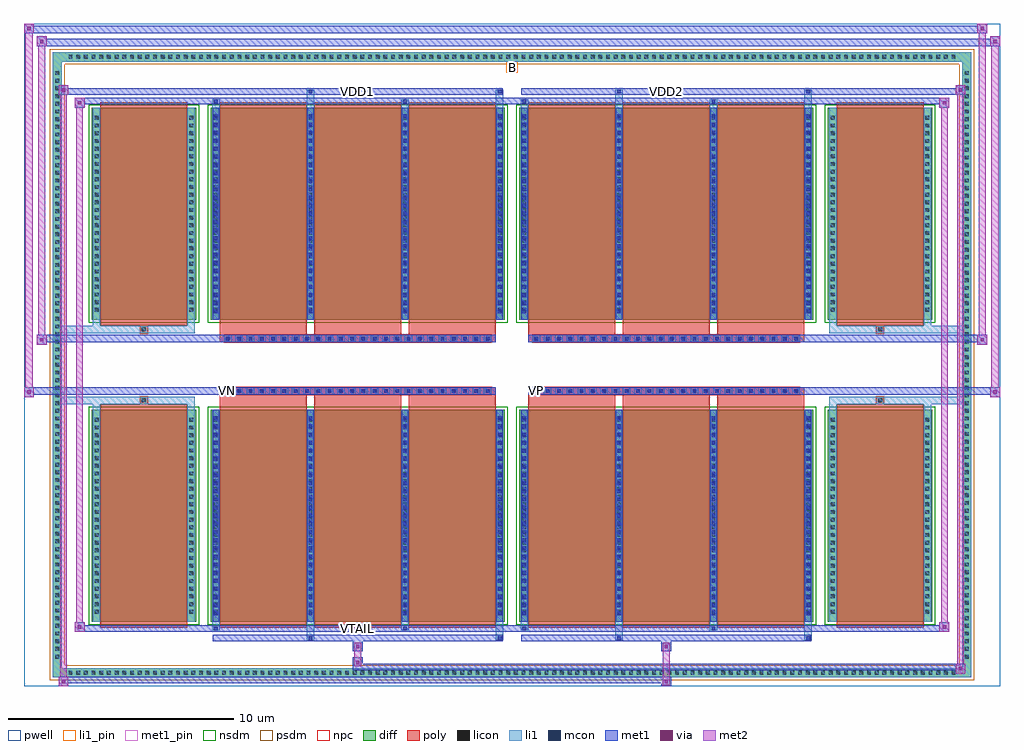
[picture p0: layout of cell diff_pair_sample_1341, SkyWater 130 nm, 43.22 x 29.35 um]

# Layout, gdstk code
import gdstk
lib = gdstk.Library(unit=1e-6, precision=5e-09)
def R(c, l, rs):  # rectangles x0, y0, x1, y1
    for r in rs: c.add(gdstk.rectangle(r[:2], r[2:], *l))
def A(c, l, x, y, w, h, nx, ny, dx, dy):  # array of equal rectangles
    R(c, l, [(x+i*dx, y+j*dy, x+i*dx+w, y+j*dy+h) for i in range(nx) for j in range(ny)])
def P(c, l, *ps):  # polygons
    for p in ps: c.add(gdstk.Polygon(p, *l))
pwell = (64, 44)
diff = (65, 20)
poly = (66, 20)
licon = (66, 44)
li1_pin = (67, 16)
li1 = (67, 20)
mcon = (67, 44)
met1_pin = (68, 16)
met1 = (68, 20)
via = (68, 44)
met2 = (69, 20)
nsdm = (93, 44)
psdm = (94, 20)
npc = (95, 20)

diff_pair_sample_1341 = lib.new_cell('diff_pair_sample_1341')
R(diff_pair_sample_1341, pwell, [(-21.61,-14.24,21.61,15.11), (-18.93,-12.43,-0.01,-0.795), (0.01,-12.43,18.93,-0.795), (-18.93,0.795,-0.01,12.43), (0.01,0.795,18.93,12.43)])
A(diff_pair_sample_1341, diff, -19.755, -13.84, 0.41, 0.41, 116, 2, 0.34, 27.27)
A(diff_pair_sample_1341, diff, -20.34, -13.125, 0.41, 0.41, 1, 77, 0, 0.34)
A(diff_pair_sample_1341, diff, 19.93, -13.125, 0.41, 0.41, 1, 77, 0, 0.34)
R(diff_pair_sample_1341, diff, [(-19.755,-13.84,19.755,-13.43), (-20.34,-13.125,-19.93,13.125), (19.93,-13.125,20.34,13.125), (-18.62,-11.385,-13.98,-1.985), (-13.34,-11.385,-0.32,-1.985), (0.32,-11.385,13.34,-1.985), (13.98,-11.385,18.62,-1.985), (-18.62,1.985,-13.98,11.385), (-13.34,1.985,-0.32,11.385), (0.32,1.985,13.34,11.385), (13.98,1.985,18.62,11.385), (-19.755,13.43,19.755,13.84)])
P(diff_pair_sample_1341, diff, [(20.34,13.84),(-20.34,13.84),(-20.34,-13.43),(-19.93,-13.43),(-19.93,13.43),(19.93,13.43),(19.93,-13.43),(-19.93,-13.43),(-20.34,-13.43),(-20.34,-13.84),(20.34,-13.84)])
A(diff_pair_sample_1341, poly, -12.95, -11.635, 3.86, 9.9, 3, 2, 4.19, 13.37)
A(diff_pair_sample_1341, poly, 0.71, -11.635, 3.86, 9.9, 3, 2, 4.19, 13.37)
A(diff_pair_sample_1341, poly, -12.95, -1.735, 3.86, 0.41, 3, 2, 4.19, 3.06)
A(diff_pair_sample_1341, poly, 0.71, -1.735, 3.86, 0.41, 3, 2, 4.19, 3.06)
A(diff_pair_sample_1341, poly, -12.745, -1.325, 0.33, 0.33, 24, 2, 0.5, 2.32)
A(diff_pair_sample_1341, poly, 0.915, -1.325, 0.33, 0.33, 24, 2, 0.5, 2.32)
R(diff_pair_sample_1341, poly, [(-18.23,-11.635,-14.37,-1.735), (14.37,-11.635,18.23,-1.735), (-16.465,-1.735,-16.135,-1.405), (-16.465,-1.735,-16.135,-1.405), (16.135,-1.735,16.465,-1.405), (16.135,-1.735,16.465,-1.405), (-12.95,-1.325,-0.71,-0.995), (0.71,-1.325,12.95,-0.995), (-12.95,0.995,-0.71,1.325), (0.71,0.995,12.95,1.325), (-16.465,1.405,-16.135,1.735), (-16.465,1.405,-16.135,1.735), (16.135,1.405,16.465,1.735), (16.135,1.405,16.465,1.735), (-18.23,1.735,-14.37,11.635), (14.37,1.735,18.23,11.635)])
A(diff_pair_sample_1341, licon, -19.635, -13.72, 0.17, 0.17, 116, 2, 0.34, 27.27)
A(diff_pair_sample_1341, licon, -20.22, -13.005, 0.17, 0.17, 1, 77, 0, 0.34)
A(diff_pair_sample_1341, licon, 20.05, -13.005, 0.17, 0.17, 1, 77, 0, 0.34)
A(diff_pair_sample_1341, licon, -18.48, -11.02, 0.17, 0.17, 1, 26, 0, 0.34)
A(diff_pair_sample_1341, licon, -14.29, -11.02, 0.17, 0.17, 1, 26, 0, 0.34)
A(diff_pair_sample_1341, licon, -13.2, -11.02, 0.17, 0.17, 4, 26, 4.19, 0.34)
A(diff_pair_sample_1341, licon, 0.46, -11.02, 0.17, 0.17, 4, 26, 4.19, 0.34)
A(diff_pair_sample_1341, licon, 14.12, -11.02, 0.17, 0.17, 1, 26, 0, 0.34)
A(diff_pair_sample_1341, licon, 18.31, -11.02, 0.17, 0.17, 1, 26, 0, 0.34)
A(diff_pair_sample_1341, licon, -12.665, -1.245, 0.17, 0.17, 24, 2, 0.5, 2.32)
A(diff_pair_sample_1341, licon, 0.995, -1.245, 0.17, 0.17, 24, 2, 0.5, 2.32)
A(diff_pair_sample_1341, licon, -18.48, 2.35, 0.17, 0.17, 1, 26, 0, 0.34)
A(diff_pair_sample_1341, licon, -14.29, 2.35, 0.17, 0.17, 1, 26, 0, 0.34)
A(diff_pair_sample_1341, licon, -13.2, 2.35, 0.17, 0.17, 4, 26, 4.19, 0.34)
A(diff_pair_sample_1341, licon, 0.46, 2.35, 0.17, 0.17, 4, 26, 4.19, 0.34)
A(diff_pair_sample_1341, licon, 14.12, 2.35, 0.17, 0.17, 1, 26, 0, 0.34)
A(diff_pair_sample_1341, licon, 18.31, 2.35, 0.17, 0.17, 1, 26, 0, 0.34)
R(diff_pair_sample_1341, licon, [(-16.385,-1.655,-16.215,-1.485), (16.215,-1.655,16.385,-1.485), (-16.385,1.485,-16.215,1.655), (16.215,1.485,16.385,1.655)])
R(diff_pair_sample_1341, li1_pin, [(-0.25,12.93,0.25,13.43)])
A(diff_pair_sample_1341, li1, -19.715, -13.8, 0.33, 0.33, 116, 2, 0.34, 27.27)
A(diff_pair_sample_1341, li1, -20.3, -13.085, 0.33, 0.33, 1, 77, 0, 0.34)
A(diff_pair_sample_1341, li1, 19.97, -13.085, 0.33, 0.33, 1, 77, 0, 0.34)
A(diff_pair_sample_1341, li1, -13.28, -11.385, 0.33, 9.4, 4, 2, 4.19, 13.37)
A(diff_pair_sample_1341, li1, 0.38, -11.385, 0.33, 9.4, 4, 2, 4.19, 13.37)
A(diff_pair_sample_1341, li1, -18.56, -11.1, 0.33, 0.33, 1, 26, 0, 0.34)
A(diff_pair_sample_1341, li1, -14.37, -11.1, 0.33, 0.33, 1, 26, 0, 0.34)
A(diff_pair_sample_1341, li1, -13.28, -11.1, 0.33, 0.33, 4, 26, 4.19, 0.34)
A(diff_pair_sample_1341, li1, 0.38, -11.1, 0.33, 0.33, 4, 26, 4.19, 0.34)
A(diff_pair_sample_1341, li1, 14.04, -11.1, 0.33, 0.33, 1, 26, 0, 0.34)
A(diff_pair_sample_1341, li1, 18.23, -11.1, 0.33, 0.33, 1, 26, 0, 0.34)
A(diff_pair_sample_1341, li1, -13.2, -11.09, 0.17, 0.17, 4, 25, 4.19, 0.36)
A(diff_pair_sample_1341, li1, -13.2, -11.09, 0.17, 8.81, 4, 2, 4.19, 13.37)
A(diff_pair_sample_1341, li1, 0.46, -11.09, 0.17, 0.17, 4, 25, 4.19, 0.36)
A(diff_pair_sample_1341, li1, 0.46, -11.09, 0.17, 8.81, 4, 2, 4.19, 13.37)
A(diff_pair_sample_1341, li1, -12.745, -1.325, 0.33, 0.33, 24, 2, 0.5, 2.32)
A(diff_pair_sample_1341, li1, 0.915, -1.325, 0.33, 0.33, 24, 2, 0.5, 2.32)
A(diff_pair_sample_1341, li1, -18.56, 2.27, 0.33, 0.33, 1, 26, 0, 0.34)
A(diff_pair_sample_1341, li1, -14.37, 2.27, 0.33, 0.33, 1, 26, 0, 0.34)
A(diff_pair_sample_1341, li1, -13.28, 2.27, 0.33, 0.33, 4, 26, 4.19, 0.34)
A(diff_pair_sample_1341, li1, 0.38, 2.27, 0.33, 0.33, 4, 26, 4.19, 0.34)
A(diff_pair_sample_1341, li1, 14.04, 2.27, 0.33, 0.33, 1, 26, 0, 0.34)
A(diff_pair_sample_1341, li1, 18.23, 2.27, 0.33, 0.33, 1, 26, 0, 0.34)
A(diff_pair_sample_1341, li1, -13.2, 2.28, 0.17, 0.17, 4, 25, 4.19, 0.36)
A(diff_pair_sample_1341, li1, 0.46, 2.28, 0.17, 0.17, 4, 25, 4.19, 0.36)
R(diff_pair_sample_1341, li1, [(-20.34,-13.84,-19.93,-13.43), (-20.34,-13.84,-19.93,-13.43), (-19.93,-13.84,19.93,-13.43), (19.93,-13.84,20.34,-13.43), (19.93,-13.84,20.34,-13.43), (-20.34,-13.43,-19.93,13.43), (19.93,-13.43,20.34,13.43), (-9.09,-12.19,-8.76,-11.385), (-9.01,-12.19,-8.84,-12.02), (-0.71,-12.19,-0.38,-11.385), (-0.63,-12.19,-0.46,-12.02), (4.57,-12.19,4.9,-11.385), (4.65,-12.19,4.82,-12.02), (12.95,-12.19,13.28,-11.385), (13.03,-12.19,13.2,-12.02), (-13.28,-11.76,-12.95,-11.385), (-13.2,-11.76,-13.03,-11.59), (-4.9,-11.76,-4.57,-11.385), (-4.82,-11.76,-4.65,-11.59), (0.38,-11.76,0.71,-11.385), (0.46,-11.76,0.63,-11.59), (8.76,-11.76,9.09,-11.385), (8.84,-11.76,9.01,-11.59), (-18.56,-11.385,-18.23,-1.985), (-14.37,-11.385,-14.04,-1.985), (14.04,-11.385,14.37,-1.985), (18.23,-11.385,18.56,-1.985), (-18.56,-1.985,-18.23,-1.405), (-14.37,-1.985,-14.04,-1.405), (14.04,-1.985,14.37,-1.405), (18.23,-1.985,18.56,-1.405), (-20.34,-1.735,-16.465,-1.405), (-18.56,-1.735,-16.465,-1.405), (-16.465,-1.735,-16.135,-1.405), (-16.135,-1.735,-14.04,-1.405), (14.04,-1.735,16.135,-1.405), (16.135,-1.735,16.465,-1.405), (16.135,-1.735,20.34,-1.405), (16.465,-1.735,18.56,-1.405), (-20.34,1.405,-16.465,1.735), (-18.56,1.405,-16.465,1.735), (-18.56,1.405,-18.23,1.985), (-16.465,1.405,-16.135,1.735), (-16.135,1.405,-14.04,1.735), (-14.37,1.405,-14.04,1.985), (14.04,1.405,16.135,1.735), (14.04,1.405,14.37,1.985), (16.135,1.405,16.465,1.735), (16.135,1.405,20.34,1.735), (16.465,1.405,18.56,1.735), (18.23,1.405,18.56,1.985), (-18.56,1.985,-18.23,11.385), (-14.37,1.985,-14.04,11.385), (14.04,1.985,14.37,11.385), (18.23,1.985,18.56,11.385), (-13.28,11.385,-12.95,11.76), (-9.09,11.385,-8.76,12.19), (-4.9,11.385,-4.57,11.76), (-0.71,11.385,-0.38,12.19), (0.38,11.385,0.71,11.76), (4.57,11.385,4.9,12.19), (8.76,11.385,9.09,11.76), (12.95,11.385,13.28,12.19), (-13.2,11.59,-13.03,11.76), (-4.82,11.59,-4.65,11.76), (0.46,11.59,0.63,11.76), (8.84,11.59,9.01,11.76), (-9.01,12.02,-8.84,12.19), (-0.63,12.02,-0.46,12.19), (4.65,12.02,4.82,12.19), (13.03,12.02,13.2,12.19), (-20.34,13.43,-19.93,13.84), (-20.34,13.43,-19.93,13.84), (-19.93,13.43,19.93,13.84), (19.93,13.43,20.34,13.84), (19.93,13.43,20.34,13.84)])
A(diff_pair_sample_1341, mcon, -13.2, -11.09, 0.17, 0.17, 4, 25, 4.19, 0.36)
A(diff_pair_sample_1341, mcon, 0.46, -11.09, 0.17, 0.17, 4, 25, 4.19, 0.36)
A(diff_pair_sample_1341, mcon, -12.665, -1.245, 0.17, 0.17, 24, 2, 0.5, 2.32)
A(diff_pair_sample_1341, mcon, 0.995, -1.245, 0.17, 0.17, 24, 2, 0.5, 2.32)
A(diff_pair_sample_1341, mcon, -13.2, 2.28, 0.17, 0.17, 4, 25, 4.19, 0.36)
A(diff_pair_sample_1341, mcon, 0.46, 2.28, 0.17, 0.17, 4, 25, 4.19, 0.36)
R(diff_pair_sample_1341, mcon, [(-9.01,-12.19,-8.84,-12.02), (-0.63,-12.19,-0.46,-12.02), (4.65,-12.19,4.82,-12.02), (13.03,-12.19,13.2,-12.02), (-13.2,-11.76,-13.03,-11.59), (-4.82,-11.76,-4.65,-11.59), (0.46,-11.76,0.63,-11.59), (8.84,-11.76,9.01,-11.59), (-13.2,11.59,-13.03,11.76), (-4.82,11.59,-4.65,11.76), (0.46,11.59,0.63,11.76), (8.84,11.59,9.01,11.76), (-9.01,12.02,-8.84,12.19), (-0.63,12.02,-0.46,12.19), (4.65,12.02,4.82,12.19), (13.03,12.02,13.2,12.19)])
R(diff_pair_sample_1341, met1_pin, [(-6.965,-11.8,-6.695,-11.53), (-12.715,-1.285,-12.445,-1.015), (0.945,-1.285,1.215,-1.015), (-6.965,11.98,-6.695,12.25), (6.695,11.98,6.965,12.25)])
A(diff_pair_sample_1341, met1, -13.26, -11.385, 0.29, 9.4, 4, 2, 4.19, 13.37)
A(diff_pair_sample_1341, met1, 0.4, -11.385, 0.29, 9.4, 4, 2, 4.19, 13.37)
A(diff_pair_sample_1341, met1, -13.26, -11.15, 0.29, 0.29, 4, 25, 4.19, 0.36)
A(diff_pair_sample_1341, met1, 0.4, -11.15, 0.29, 0.29, 4, 25, 4.19, 0.36)
A(diff_pair_sample_1341, met1, -12.725, -1.305, 0.29, 0.29, 24, 2, 0.5, 2.32)
A(diff_pair_sample_1341, met1, 0.935, -1.305, 0.29, 0.29, 24, 2, 0.5, 2.32)
A(diff_pair_sample_1341, met1, -13.26, 2.22, 0.29, 0.29, 4, 25, 4.19, 0.36)
A(diff_pair_sample_1341, met1, 0.4, 2.22, 0.29, 0.29, 4, 25, 4.19, 0.36)
R(diff_pair_sample_1341, met1, [(-20.07,-14.24,-19.64,-13.81), (6.615,-14.24,7.045,-13.81), (-20.07,-14.1,7.045,-13.81), (19.64,-13.67,20.07,-13.24), (-7.045,-13.53,20.07,-13.24), (-7.045,-13.39,-6.615,-12.96), (-7.045,-12.68,-6.615,-12.25), (6.615,-12.68,7.045,-12.25), (-13.26,-12.25,-0.4,-11.96), (-9.07,-12.25,-8.78,-11.96), (-0.69,-12.25,-0.4,-11.96), (0.4,-12.25,13.26,-11.96), (4.59,-12.25,4.88,-11.96), (12.97,-12.25,13.26,-11.96), (-19.36,-11.82,-18.93,-11.39), (-19.36,-11.82,-13.26,-11.53), (-13.26,-11.82,-12.97,-11.53), (-13.26,-11.82,-0.4,-11.53), (-4.88,-11.82,-4.59,-11.53), (-0.4,-11.82,0.4,-11.53), (0.4,-11.82,0.69,-11.53), (0.4,-11.82,13.26,-11.53), (8.78,-11.82,9.07,-11.53), (13.26,-11.82,19.36,-11.53), (18.93,-11.82,19.36,-11.39), (-21.61,-1.425,-21.18,-0.995), (21.18,-1.425,21.61,-0.995), (-21.61,-1.325,-0.71,-0.995), (-12.95,-1.325,-0.71,-0.995), (0.71,-1.325,12.95,-0.995), (0.71,-1.325,21.61,-0.995), (-21.04,0.895,-20.61,1.325), (20.61,0.895,21.04,1.325), (-21.04,0.995,-12.95,1.325), (-12.95,0.995,-0.71,1.325), (0.71,0.995,12.95,1.325), (12.95,0.995,21.04,1.325), (-19.36,11.39,-18.93,11.82), (18.93,11.39,19.36,11.82), (-19.36,11.53,-13.26,11.82), (-13.26,11.53,-12.97,11.82), (-13.26,11.53,-0.4,11.82), (-4.88,11.53,-4.59,11.82), (-0.4,11.53,0.4,11.82), (0.4,11.53,0.69,11.82), (0.4,11.53,13.26,11.82), (8.78,11.53,9.07,11.82), (13.26,11.53,19.36,11.82), (-20.07,11.96,-19.64,12.39), (-20.07,11.96,-13.26,12.25), (-13.26,11.96,-0.4,12.25), (-9.07,11.96,-8.78,12.25), (-0.69,11.96,-0.4,12.25), (0.4,11.96,13.26,12.25), (4.59,11.96,4.88,12.25), (12.97,11.96,13.26,12.25), (13.26,11.96,20.07,12.25), (19.64,11.96,20.07,12.39), (-21.04,14.11,-20.61,14.54), (-21.04,14.11,-18.93,14.44), (-18.93,14.11,18.93,14.44), (18.93,14.11,21.61,14.44), (21.18,14.11,21.61,14.54), (-21.61,14.68,-21.18,15.11), (-21.61,14.68,-18.93,15.01), (-18.93,14.68,18.93,15.01), (18.93,14.68,21.04,15.01), (20.61,14.68,21.04,15.11)])
R(diff_pair_sample_1341, via, [(-19.93,-14.1,-19.78,-13.95), (6.755,-14.1,6.905,-13.95), (19.78,-13.53,19.93,-13.38), (-6.905,-13.25,-6.755,-13.1), (-6.905,-12.54,-6.755,-12.39), (6.755,-12.54,6.905,-12.39), (-19.22,-11.68,-19.07,-11.53), (19.07,-11.68,19.22,-11.53), (-21.47,-1.285,-21.32,-1.135), (21.32,-1.285,21.47,-1.135), (-20.9,1.035,-20.75,1.185), (20.75,1.035,20.9,1.185), (-19.22,11.53,-19.07,11.68), (19.07,11.53,19.22,11.68), (-19.93,12.1,-19.78,12.25), (19.78,12.1,19.93,12.25), (-20.9,14.25,-20.75,14.4), (21.32,14.25,21.47,14.4), (-21.47,14.82,-21.32,14.97), (20.75,14.82,20.9,14.97)])
R(diff_pair_sample_1341, met2, [(-20.07,-14.24,-19.64,-13.81), (-20,-14.24,-19.71,12.39), (-19.71,-14.24,-19.64,-13.81), (-20.02,-14.19,-19.69,-13.86), (6.665,-14.19,6.995,-13.86), (6.665,-13.86,6.995,-12.63), (19.64,-13.67,20.07,-13.24), (19.71,-13.67,20,12.39), (20,-13.67,20.07,-13.24), (19.69,-13.62,20.02,-13.29), (-6.995,-13.34,-6.665,-13.01), (-6.995,-13.01,-6.665,-12.63), (-6.995,-12.63,-6.665,-12.3), (6.665,-12.63,6.995,-12.3), (-19.36,-11.82,-18.93,-11.39), (-19.29,-11.82,-19,11.82), (-19,-11.82,-18.93,-11.39), (18.93,-11.82,19.36,-11.39), (19,-11.82,19.29,11.82), (19.29,-11.82,19.36,-11.39), (-19.31,-11.77,-18.98,-11.44), (18.98,-11.77,19.31,-11.44), (-21.61,-1.425,-21.18,-0.995), (-21.56,-1.425,-21.23,15.11), (-21.23,-1.425,-21.18,-0.995), (21.18,-1.425,21.61,-0.995), (21.23,-1.425,21.56,14.54), (21.56,-1.425,21.61,-0.995), (-21.56,-1.375,-21.23,-1.045), (21.23,-1.375,21.56,-1.045), (-21.04,0.895,-20.61,1.325), (-20.99,0.895,-20.66,14.54), (-20.66,0.895,-20.61,1.325), (20.61,0.895,21.04,1.325), (20.66,0.895,20.99,15.11), (20.99,0.895,21.04,1.325), (-20.99,0.945,-20.66,1.275), (20.66,0.945,20.99,1.275), (-19.36,11.39,-18.93,11.82), (-19,11.39,-18.93,11.82), (18.93,11.39,19.36,11.82), (19.29,11.39,19.36,11.82), (-19.31,11.44,-18.98,11.77), (18.98,11.44,19.31,11.77), (-20.07,11.96,-19.64,12.39), (-19.71,11.96,-19.64,12.39), (19.64,11.96,20.07,12.39), (20,11.96,20.07,12.39), (-20.02,12.01,-19.69,12.34), (19.69,12.01,20.02,12.34), (-21.04,14.11,-20.61,14.54), (-20.66,14.11,-20.61,14.54), (21.18,14.11,21.61,14.54), (21.56,14.11,21.61,14.54), (-20.99,14.16,-20.66,14.49), (21.23,14.16,21.56,14.49), (-21.61,14.68,-21.18,15.11), (-21.23,14.68,-21.18,15.11), (20.61,14.68,21.04,15.11), (20.99,14.68,21.04,15.11), (-21.56,14.73,-21.23,15.06), (20.66,14.73,20.99,15.06)])
R(diff_pair_sample_1341, nsdm, [(-18.75,-11.515,-13.85,-1.855), (-13.47,-11.515,-0.19,-1.855), (0.19,-11.515,13.47,-1.855), (13.85,-11.515,18.75,-1.855), (-18.75,1.855,-13.85,11.515), (-13.47,1.855,-0.19,11.515), (0.19,1.855,13.47,11.515), (13.85,1.855,18.75,11.515)])
P(diff_pair_sample_1341, psdm, [(20.47,13.97),(-20.47,13.97),(-20.47,-13.3),(-19.8,-13.3),(-19.8,13.3),(19.8,13.3),(19.8,-13.3),(-19.8,-13.3),(-20.47,-13.3),(-20.47,-13.97),(20.47,-13.97)])
A(diff_pair_sample_1341, npc, -12.765, -1.345, 0.37, 0.37, 24, 2, 0.5, 2.32)
A(diff_pair_sample_1341, npc, 0.895, -1.345, 0.37, 0.37, 24, 2, 0.5, 2.32)
R(diff_pair_sample_1341, npc, [(-16.485,-1.755,-16.115,-1.385), (16.115,-1.755,16.485,-1.385), (-12.765,-1.345,-11.895,-0.975), (-12.765,-1.345,-11.895,-0.975), (-12.265,-1.345,-11.395,-0.975), (-12.265,-1.345,-11.395,-0.975), (-11.765,-1.345,-10.895,-0.975), (-11.765,-1.345,-10.895,-0.975), (-11.265,-1.345,-10.395,-0.975), (-11.265,-1.345,-10.395,-0.975), (-10.765,-1.345,-9.895,-0.975), (-10.765,-1.345,-9.895,-0.975), (-10.265,-1.345,-9.395,-0.975), (-10.265,-1.345,-9.395,-0.975), (-9.765,-1.345,-8.895,-0.975), (-9.765,-1.345,-8.895,-0.975), (-9.265,-1.345,-8.395,-0.975), (-9.265,-1.345,-8.395,-0.975), (-8.765,-1.345,-7.895,-0.975), (-8.765,-1.345,-7.895,-0.975), (-8.265,-1.345,-7.395,-0.975), (-8.265,-1.345,-7.395,-0.975), (-7.765,-1.345,-6.895,-0.975), (-7.765,-1.345,-6.895,-0.975), (-7.265,-1.345,-6.395,-0.975), (-7.265,-1.345,-6.395,-0.975), (-6.765,-1.345,-5.895,-0.975), (-6.765,-1.345,-5.895,-0.975), (-6.265,-1.345,-5.395,-0.975), (-6.265,-1.345,-5.395,-0.975), (-5.765,-1.345,-4.895,-0.975), (-5.765,-1.345,-4.895,-0.975), (-5.265,-1.345,-4.395,-0.975), (-5.265,-1.345,-4.395,-0.975), (-4.765,-1.345,-3.895,-0.975), (-4.765,-1.345,-3.895,-0.975), (-4.265,-1.345,-3.395,-0.975), (-4.265,-1.345,-3.395,-0.975), (-3.765,-1.345,-2.895,-0.975), (-3.765,-1.345,-2.895,-0.975), (-3.265,-1.345,-2.395,-0.975), (-3.265,-1.345,-2.395,-0.975), (-2.765,-1.345,-1.895,-0.975), (-2.765,-1.345,-1.895,-0.975), (-2.265,-1.345,-1.395,-0.975), (-2.265,-1.345,-1.395,-0.975), (-1.765,-1.345,-0.895,-0.975), (-1.765,-1.345,-0.895,-0.975), (0.895,-1.345,1.765,-0.975), (0.895,-1.345,1.765,-0.975), (1.395,-1.345,2.265,-0.975), (1.395,-1.345,2.265,-0.975), (1.895,-1.345,2.765,-0.975), (1.895,-1.345,2.765,-0.975), (2.395,-1.345,3.265,-0.975), (2.395,-1.345,3.265,-0.975), (2.895,-1.345,3.765,-0.975), (2.895,-1.345,3.765,-0.975), (3.395,-1.345,4.265,-0.975), (3.395,-1.345,4.265,-0.975), (3.895,-1.345,4.765,-0.975), (3.895,-1.345,4.765,-0.975), (4.395,-1.345,5.265,-0.975), (4.395,-1.345,5.265,-0.975), (4.895,-1.345,5.765,-0.975), (4.895,-1.345,5.765,-0.975), (5.395,-1.345,6.265,-0.975), (5.395,-1.345,6.265,-0.975), (5.895,-1.345,6.765,-0.975), (5.895,-1.345,6.765,-0.975), (6.395,-1.345,7.265,-0.975), (6.395,-1.345,7.265,-0.975), (6.895,-1.345,7.765,-0.975), (6.895,-1.345,7.765,-0.975), (7.395,-1.345,8.265,-0.975), (7.395,-1.345,8.265,-0.975), (7.895,-1.345,8.765,-0.975), (7.895,-1.345,8.765,-0.975), (8.395,-1.345,9.265,-0.975), (8.395,-1.345,9.265,-0.975), (8.895,-1.345,9.765,-0.975), (8.895,-1.345,9.765,-0.975), (9.395,-1.345,10.265,-0.975), (9.395,-1.345,10.265,-0.975), (9.895,-1.345,10.765,-0.975), (9.895,-1.345,10.765,-0.975), (10.395,-1.345,11.265,-0.975), (10.395,-1.345,11.265,-0.975), (10.895,-1.345,11.765,-0.975), (10.895,-1.345,11.765,-0.975), (11.395,-1.345,12.265,-0.975), (11.395,-1.345,12.265,-0.975), (11.895,-1.345,12.765,-0.975), (11.895,-1.345,12.765,-0.975), (-12.765,0.975,-11.895,1.345), (-12.765,0.975,-11.895,1.345), (-12.265,0.975,-11.395,1.345), (-12.265,0.975,-11.395,1.345), (-11.765,0.975,-10.895,1.345), (-11.765,0.975,-10.895,1.345), (-11.265,0.975,-10.395,1.345), (-11.265,0.975,-10.395,1.345), (-10.765,0.975,-9.895,1.345), (-10.765,0.975,-9.895,1.345), (-10.265,0.975,-9.395,1.345), (-10.265,0.975,-9.395,1.345), (-9.765,0.975,-8.895,1.345), (-9.765,0.975,-8.895,1.345), (-9.265,0.975,-8.395,1.345), (-9.265,0.975,-8.395,1.345), (-8.765,0.975,-7.895,1.345), (-8.765,0.975,-7.895,1.345), (-8.265,0.975,-7.395,1.345), (-8.265,0.975,-7.395,1.345), (-7.765,0.975,-6.895,1.345), (-7.765,0.975,-6.895,1.345), (-7.265,0.975,-6.395,1.345), (-7.265,0.975,-6.395,1.345), (-6.765,0.975,-5.895,1.345), (-6.765,0.975,-5.895,1.345), (-6.265,0.975,-5.395,1.345), (-6.265,0.975,-5.395,1.345), (-5.765,0.975,-4.895,1.345), (-5.765,0.975,-4.895,1.345), (-5.265,0.975,-4.395,1.345), (-5.265,0.975,-4.395,1.345), (-4.765,0.975,-3.895,1.345), (-4.765,0.975,-3.895,1.345), (-4.265,0.975,-3.395,1.345), (-4.265,0.975,-3.395,1.345), (-3.765,0.975,-2.895,1.345), (-3.765,0.975,-2.895,1.345), (-3.265,0.975,-2.395,1.345), (-3.265,0.975,-2.395,1.345), (-2.765,0.975,-1.895,1.345), (-2.765,0.975,-1.895,1.345), (-2.265,0.975,-1.395,1.345), (-2.265,0.975,-1.395,1.345), (-1.765,0.975,-0.895,1.345), (-1.765,0.975,-0.895,1.345), (0.895,0.975,1.765,1.345), (0.895,0.975,1.765,1.345), (1.395,0.975,2.265,1.345), (1.395,0.975,2.265,1.345), (1.895,0.975,2.765,1.345), (1.895,0.975,2.765,1.345), (2.395,0.975,3.265,1.345), (2.395,0.975,3.265,1.345), (2.895,0.975,3.765,1.345), (2.895,0.975,3.765,1.345), (3.395,0.975,4.265,1.345), (3.395,0.975,4.265,1.345), (3.895,0.975,4.765,1.345), (3.895,0.975,4.765,1.345), (4.395,0.975,5.265,1.345), (4.395,0.975,5.265,1.345), (4.895,0.975,5.765,1.345), (4.895,0.975,5.765,1.345), (5.395,0.975,6.265,1.345), (5.395,0.975,6.265,1.345), (5.895,0.975,6.765,1.345), (5.895,0.975,6.765,1.345), (6.395,0.975,7.265,1.345), (6.395,0.975,7.265,1.345), (6.895,0.975,7.765,1.345), (6.895,0.975,7.765,1.345), (7.395,0.975,8.265,1.345), (7.395,0.975,8.265,1.345), (7.895,0.975,8.765,1.345), (7.895,0.975,8.765,1.345), (8.395,0.975,9.265,1.345), (8.395,0.975,9.265,1.345), (8.895,0.975,9.765,1.345), (8.895,0.975,9.765,1.345), (9.395,0.975,10.265,1.345), (9.395,0.975,10.265,1.345), (9.895,0.975,10.765,1.345), (9.895,0.975,10.765,1.345), (10.395,0.975,11.265,1.345), (10.395,0.975,11.265,1.345), (10.895,0.975,11.765,1.345), (10.895,0.975,11.765,1.345), (11.395,0.975,12.265,1.345), (11.395,0.975,12.265,1.345), (11.895,0.975,12.765,1.345), (11.895,0.975,12.765,1.345), (-16.485,1.385,-16.115,1.755), (16.115,1.385,16.485,1.755)])
diff_pair_sample_1341.add(gdstk.Label('VTAIL', (-6.83,-11.665), layer=68, texttype=5))
diff_pair_sample_1341.add(gdstk.Label('VN', (-12.58,-1.15), layer=68, texttype=5))
diff_pair_sample_1341.add(gdstk.Label('VP', (1.08,-1.15), layer=68, texttype=5))
diff_pair_sample_1341.add(gdstk.Label('B', (0,13.18), layer=67, texttype=5))
diff_pair_sample_1341.add(gdstk.Label('VDD2', (6.83,12.115), layer=68, texttype=5))
diff_pair_sample_1341.add(gdstk.Label('VDD1', (-6.83,12.115), layer=68, texttype=5))

lib.write_gds('diff_pair_sample_1341.gds')
